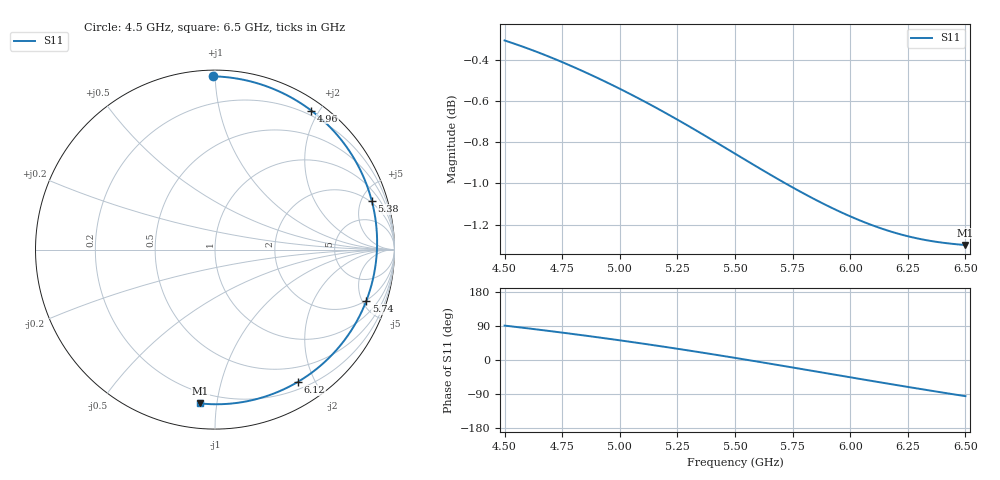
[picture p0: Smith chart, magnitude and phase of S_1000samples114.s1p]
! TOUCHSTONE file generated by CST MICROWAVE STUDIO
! Date and time: Thu Oct 27 01:14:00 2022
! Project name: L.cst
! Parameters = {Di=1.27; Epsilon_r=1.56; InnerDiameter=1.27; Length=2; Lf=10; Lg=60; OuterConductorThickness=0.2921; OuterDiameter=3.6; Wf=3; Wp=41.2; de=1.5; df=6.8; g=0.8; gx=3.58118; gy=2.97141; h=2.34; hf=1.524; px=8.09867; py=10.6083; w=9.7; wx=4.51748; wy=7.63688}
! Header version: 2018
! Port assignment regex: !\s*Touchstone port\s*([0-9]+)\s*=\s*(CST MWS port|CST DS port)\s*([0-9]+|Zmin|Zmax)\s*\(\"(.*)\"\)(\s*mode\s*([0-9]+))?.*
! Touchstone port assignment:
! Touchstone port 1 = CST MWS port 1 ("")
# GHz S DB R 50
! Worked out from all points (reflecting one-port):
!   101 points, 4.5 GHz to 6.5 GHz, reference 50 ohm
!   lowest |S11| = -1.3 dB at 6.5 GHz (marker M1), VSWR 13.40, Z = 6.79 - j45 ohm
!   phase of S11 starts at 91 deg and turns -186 deg over the sweep
!   S11 on the Smith chart (normalised r, x): 4.5 GHz: 0.03, +0.99; 4.96 GHz: 0.14, +1.90; 5.38 GHz: 1.81, +6.04; 5.74 GHz: 1.95, -5.37; 6.12 GHz: 0.29, -1.77; 6.5 GHz: 0.14, -0.90
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4.5  -0.30 90.8
4.64  -0.36 80.6
4.76  -0.41 71.5
4.86  -0.46 63.5
4.96  -0.52 55.3
5  -0.54 51.9
5.12  -0.61 41.5
5.2  -0.66 34.2
5.26  -0.70 28.7
5.38  -0.77 17.3
5.44  -0.81 11.5
5.5  -0.85 5.6
5.56  -0.90 -0.4
5.62  -0.94 -6.5
5.68  -0.97 -12.6
5.74  -1.01 -18.7
5.76  -1.03 -20.8
5.82  -1.06 -27.0
5.88  -1.10 -33.2
6  -1.16 -45.6
6.06  -1.19 -51.8
6.12  -1.21 -57.9
6.2  -1.24 -66.0
6.26  -1.26 -72.0
6.32  -1.27 -78.0
6.38  -1.28 -83.9
6.44  -1.29 -89.7
6.5  -1.30 -95.4
